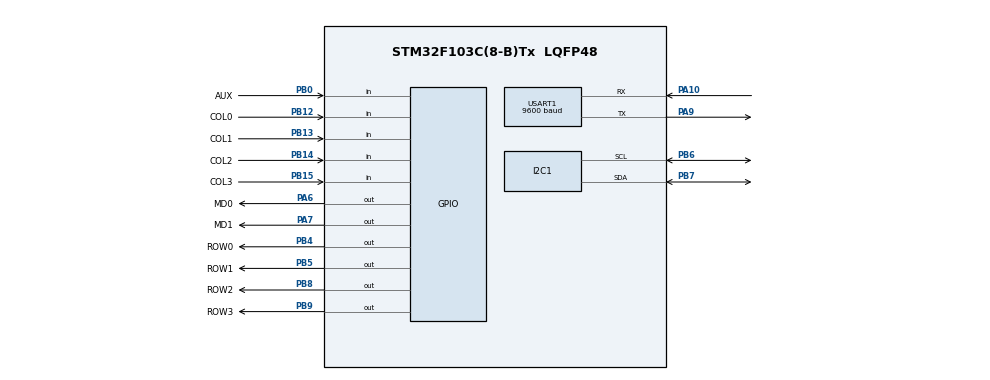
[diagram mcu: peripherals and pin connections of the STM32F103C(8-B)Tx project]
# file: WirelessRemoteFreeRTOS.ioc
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FREERTOS.Tasks01=defaultTask,24,128,StartDefaultTask,Default,NULL,Dynamic,NULL,NULL
FREERTOS.configTOTAL_HEAP_SIZE=6 * 1024
Mcu.Family=STM32F1
Mcu.Name=STM32F103C(8-B)Tx
Mcu.Package=LQFP48
NVIC.PriorityGroup=NVIC_PRIORITYGROUP_4
NVIC.TIM4_IRQn=true\:0\:0\:false\:false\:true\:false\:false\:true
NVIC.TimeBase=TIM4_IRQn
NVIC.TimeBaseIP=TIM4
NVIC.USART1_IRQn=true\:5\:0\:false\:false\:true\:true\:true\:true
PA10.Mode=Asynchronous
PA10.Signal=USART1_RX
PA13.Mode=Serial_Wire
PA13.Signal=SYS_JTMS-SWDIO
PA14.Mode=Serial_Wire
PA14.Signal=SYS_JTCK-SWCLK
PA6.GPIO_Label=MD0
PA6.Signal=GPIO_Output
PA7.GPIO_Label=MD1
PA7.Signal=GPIO_Output
PA9.Mode=Asynchronous
PA9.Signal=USART1_TX
PB0.GPIO_Label=AUX
PB0.Signal=GPIO_Input
PB12.GPIO_Label=COL0
PB12.GPIO_PuPd=GPIO_PULLDOWN
PB12.Signal=GPIO_Input
PB13.GPIO_Label=COL1
PB13.GPIO_PuPd=GPIO_PULLDOWN
PB13.Signal=GPIO_Input
PB14.GPIO_Label=COL2
PB14.GPIO_PuPd=GPIO_PULLDOWN
PB14.Signal=GPIO_Input
PB15.GPIO_Label=COL3
PB15.GPIO_PuPd=GPIO_PULLDOWN
PB15.Signal=GPIO_Input
PB4.GPIO_Label=ROW0
PB4.GPIO_Speed=GPIO_SPEED_FREQ_HIGH
PB4.PinState=GPIO_PIN_RESET
PB4.Signal=GPIO_Output
PB5.GPIO_Label=ROW1
PB5.GPIO_Speed=GPIO_SPEED_FREQ_HIGH
PB5.PinState=GPIO_PIN_RESET
PB5.Signal=GPIO_Output
PB6.Mode=I2C
PB6.Signal=I2C1_SCL
PB7.Mode=I2C
PB7.Signal=I2C1_SDA
PB8.GPIO_Label=ROW2
PB8.GPIO_Speed=GPIO_SPEED_FREQ_HIGH
PB8.Signal=GPIO_Output
PB9.GPIO_Label=ROW3
PB9.GPIO_Speed=GPIO_SPEED_FREQ_HIGH
PB9.Signal=GPIO_Output
PC14-OSC32_IN.Mode=LSE-External-Oscillator
PC14-OSC32_IN.Signal=RCC_OSC32_IN
PC15-OSC32_OUT.Mode=LSE-External-Oscillator
PC15-OSC32_OUT.Signal=RCC_OSC32_OUT
PD0-OSC_IN.Mode=HSE-External-Oscillator
PD0-OSC_IN.Signal=RCC_OSC_IN
PD1-OSC_OUT.Mode=HSE-External-Oscillator
PD1-OSC_OUT.Signal=RCC_OSC_OUT
ProjectManager.HeapSize=0x400
ProjectManager.StackSize=0x400
ProjectManager.TargetToolchain=MDK-ARM V5.27
RCC.APB1Freq_Value=8000000
RCC.APB2Freq_Value=8000000
USART1.BaudRate=9600
USART1.VirtualMode=VM_ASYNC
VP_FREERTOS_VS_CMSIS_V2.Mode=CMSIS_V2
VP_SYS_VS_tim4.Mode=TIM4
board=custom

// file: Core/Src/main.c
/* USER CODE BEGIN Header */
/**
  ******************************************************************************
  * @file           : main.c
  * @brief          : Main program body
  ******************************************************************************
  * @attention
  *
  * <h2><center>&copy; Copyright (c) 2021 STMicroelectronics.
  * All rights reserved.</center></h2>
  *
  * This software component is licensed by ST under Ultimate Liberty license
  * SLA0044, the "License"; You may not use this file except in compliance with
  * the License. You may obtain a copy of the License at:
  *                             www.st.com/SLA0044
  *
  ******************************************************************************
  */
/* USER CODE END Header */
#include "main.h"
#include "cmsis_os.h"
#include "i2c.h"
#include "usart.h"
#include "gpio.h"

/* USER CODE BEGIN Includes */
#include "queue.h"
#include "semphr.h"
#include "event_groups.h"
#include "AS69.h"
#include "ssd1306.h"
#include "matrix_key.h"
#include "state_machine.h"
#include "GUI.h"
/* USER CODE END Includes */

/* USER CODE BEGIN PTD */
typedef struct Message
{
  uint16_t addr;
  uint8_t count;
  uint32_t data;
} Message_TypeDef;
/* USER CODE END PTD */

void SystemClock_Config(void);
void MX_FREERTOS_Init(void);

/* USER CODE BEGIN 0 */

/* FreeRTOS ------------------------------------------------------------------*/

//osSemaphoreDef(updateScreenSem);
//osThreadId as69TaskHandle;
//osThreadId displayTaskHandle;
//osThreadId keyTaskHandle;

EventGroupHandle_t xUpdateScreenEventGroup;
EventGroupHandle_t xReadyEventGroup;
QueueHandle_t xRecvMessageQueue;
QueueHandle_t xSendMessageQueue;
QueueHandle_t xKeyEventQueue;
TaskHandle_t xAS69TaskHandle;
TaskHandle_t xAS69SendTaskHandle;
TaskHandle_t xDisplayTaskHandle;
TaskHandle_t xMatrixTaskHandle;
//TaskHandle_t xMessageRouterTaskHandle;
TaskHandle_t xGUITaskHandle;

void UART_RxCpltCallback()
{
  BaseType_t xYieldRequired;
  xYieldRequired = xTaskResumeFromISR(xAS69TaskHandle);
  portYIELD_FROM_ISR(xYieldRequired);
}
void vAS69Task(void* arg)
{
  UART_HandleTypeDef* huart = (UART_HandleTypeDef*)arg;
  taskENTER_CRITICAL();
  AS69_Init(huart);
  taskEXIT_CRITICAL();

  uint8_t buffer;
  CommStateMachine_TypeDef state = Comm_HEAD;
  const uint8_t head[] = { 0xde, 0xad };
  const uint8_t addr_bytes = 2;
  const uint8_t len_bytes = 1;
  uint16_t addr = 0x0000;
  uint8_t len = 0;
  uint8_t count = 0;
  uint8_t byte_count = 0;
  uint32_t msg_buffer = 0;
  huart->RxCpltCallback = UART_RxCpltCallback;
  xEventGroupSetBits(xReadyEventGroup, BIT_AS69_READY);
  for (;;)
  {
    HAL_UART_Receive_IT(huart, &buffer, 1);
    vTaskSuspend(xAS69TaskHandle);
    switch (state)
    {
    case Comm_HEAD: {
      if (buffer == head[len])
      {
        count++;
        if (count == sizeof(head))
        {
          addr = 0;
          count = 0;
          msg_buffer = 0;
          state = Comm_ADDR;
        }
      }
      break;
    }
    case Comm_ADDR: {
      addr = addr + (buffer << (count << 3));
      count++;
      if (count == addr_bytes)
      {
        len = 0;
        count = 0;
        msg_buffer = 0;
        state = Comm_LEN;
      }
      break;
    }
    case Comm_LEN: {
      len = len + (buffer << (count << 3));
      count++;
      if (count == len_bytes)
      {
        msg_buffer = 0;
        count = 0;
        byte_count = 0;
        msg_buffer = 0;
        state = Comm_LEN;
      }
      break;
    }
    case Comm_MSG: {
      msg_buffer = msg_buffer + (buffer << (byte_count << 3));
      byte_count++;
      if (byte_count == 4)
      {
        Message_TypeDef msg = {
          .addr = addr,
          .count = count,
          .data = msg_buffer
        };
        if (xQueueSend(xRecvMessageQueue,
                        (void *) &msg,
                        (TickType_t) 20 == pdTRUE))
        {
          xEventGroupSetBits(xReadyEventGroup, BIT_RECV_READY);
        }
        msg_buffer = 0;
        byte_count = 0;
        count++;
      }
      if (count == len)
      {
        count = 0;
        state = Comm_HEAD;
      }
      break;
    }
    default:
      break;
    }

  }
}

void vAS69SendTask(void* arg)
{
  xEventGroupWaitBits(xReadyEventGroup, BIT_AS69_READY, pdFALSE, pdTRUE, portMAX_DELAY);
  for (;;)
  {
    Message_TypeDef msg;
    if (xQueueReceive(xSendMessageQueue, &msg, portMAX_DELAY) == pdTRUE)
    {
      // TODO
    }
  }
}

void vDisplayTask(void* arg)
{
  I2C_HandleTypeDef* hi2c = (I2C_HandleTypeDef*)arg;
  ssd1306_Init(hi2c);
  portENTER_CRITICAL();
  ssd1306_UpdateScreen(hi2c);
  portEXIT_CRITICAL();
  xEventGroupSetBits(xReadyEventGroup, BIT_SSD1306_READY);
  for (;;)
  {
    xEventGroupWaitBits(xUpdateScreenEventGroup, 0xff, pdTRUE, pdFALSE, portMAX_DELAY);
    ssd1306_UpdateScreen(hi2c);
  }
}

matrix_key_Typedef matrix_key;
FSMKey_Typedef keys[4][4];
void vMatrixTask(void* arg)
{
  xEventGroupWaitBits(xReadyEventGroup, BIT_SSD1306_READY, pdFALSE, pdTRUE, portMAX_DELAY);
  GPIO_struct_Typedef row[4];
  GPIO_struct_Typedef col[4];
  row[0].GPIOx = ROW0_GPIO_Port; row[0].GPIO_Pin = ROW0_Pin;
  row[1].GPIOx = ROW1_GPIO_Port; row[1].GPIO_Pin = ROW1_Pin;
  row[2].GPIOx = ROW2_GPIO_Port; row[2].GPIO_Pin = ROW2_Pin;
  row[3].GPIOx = ROW3_GPIO_Port; row[3].GPIO_Pin = ROW3_Pin;
  col[0].GPIOx = COL0_GPIO_Port; col[0].GPIO_Pin = COL0_Pin;
  col[1].GPIOx = COL1_GPIO_Port; col[1].GPIO_Pin = COL1_Pin;
  col[2].GPIOx = COL2_GPIO_Port; col[2].GPIO_Pin = COL2_Pin;
  col[3].GPIOx = COL3_GPIO_Port; col[3].GPIO_Pin = COL3_Pin;
  matrixInit(&matrix_key, keys, row, col);

  TickType_t xLastWakeTime;
  const TickType_t xFrequency = 4;
  xLastWakeTime = xTaskGetTickCount();
  for (;;)
  {
    scanMatrix(&matrix_key);
    vTaskDelayUntil(&xLastWakeTime, xFrequency);
  }
}

// TODO: Feature in the future
//void vMessageRouterTask(void* arg)
//{
//  Message_TypeDef msg;
//  for (;;)
//  {
//    if (xQueueReceive(xRecvMessageQueue, &(msg), portMAX_DELAY) == pdPASS)
//    {
//      // TODO
//    }
//  }
//}

#define GUI_VALUE_COUNT 10
GUI_Value_TypeDef values[10];

void vGUITask(void* arg)
{
  xEventGroupWaitBits(xReadyEventGroup, BIT_SSD1306_READY, pdFALSE, pdTRUE, portMAX_DELAY);

  values[0].value = 0;
  values[1].value = (uint32_t)0.0f;
  values[2].value = (uint32_t)0.0f;
  values[3].value = (uint32_t)0.0f;
	values[4].value = 0;
	values[5].value = 0;

  GUI_TypeDef gmRoot, gmUltities, gmPidTuner,gvgTemp, gvsTestVal ,gvsPidP, gvsPidI, gvsPidD, gvsError, gmRegs, gmErrs, gmAbout, gmExample;
  GUI_Init(&gmRoot, "Root", NULL, GUI_MENU, NULL);
  {
    GUI_Init(&gmUltities, "Ultity", NULL, GUI_MENU, NULL);
    {
      GUI_Init(&gvgTemp, "Temp", (void*)"Deg", GUI_VALUEGET, (void*)(values + 0));
      GUI_Init(&gvsTestVal, "TestVal", (void*)"Unit", GUI_VALUESET, (void*)(values + 5));
      GUI_SetProperties(&gvgTemp, guiINT | guiSCREEN_SYNC | guiENABLED);
      GUI_SetProperties(&gvsTestVal, guiINT | guiINC_CTRL | guiSCREEN_SYNC | guiENABLED);
      GUI_AddChild(&gmUltities, &gvgTemp);
      GUI_AddChild(&gmUltities, &gvsTestVal);
    }
    GUI_Init(&gmPidTuner, "PIDTune", NULL, GUI_MENU, NULL);
    {
      GUI_Init(&gvsPidP, "P", (void*)"x", GUI_VALUESET, (void*)(values + 1));
      GUI_Init(&gvsPidI, "I", (void*)"x", GUI_VALUESET, (void*)(values + 2));
      GUI_Init(&gvsPidD, "D", (void*)"x", GUI_VALUESET, (void*)(values + 3));
			GUI_Init(&gvsError, "Error", (void*)"x", GUI_VALUESET, (void*)(values + 4));
      GUI_SetProperties(&gvsPidP, guiFLOAT | guiENABLED);
      GUI_SetProperties(&gvsPidI, guiFLOAT | guiENABLED);
      GUI_SetProperties(&gvsPidD, guiFLOAT | guiENABLED);
			GUI_SetProperties(&gvsError, guiBOOL | guiINC_CTRL |guiENABLED);
      GUI_AddChild(&gmPidTuner, &gvsPidP);
      GUI_AddChild(&gmPidTuner, &gvsPidI);
      GUI_AddChild(&gmPidTuner, &gvsPidD);
			GUI_AddChild(&gmPidTuner, &gvsError);
    }
    GUI_Init(&gmRegs, "Regs", NULL, GUI_MENU, NULL);
    GUI_Init(&gmErrs, "Errors", NULL, GUI_MENU, NULL);
    GUI_Init(&gmAbout, "Aboutme", NULL, GUI_MENU, NULL);
    GUI_Init(&gmExample, "Example", NULL, GUI_MENU, NULL);
    GUI_SetProperties(&gmUltities, guiENABLED);
    GUI_SetProperties(&gmPidTuner, guiENABLED);
    GUI_SetProperties(&gmRegs, guiENABLED);
    GUI_SetProperties(&gmErrs, guiENABLED);
    GUI_SetProperties(&gmAbout, guiENABLED);
    GUI_SetProperties(&gmExample, guiENABLED);
    GUI_AddChild(&gmRoot, &gmUltities);
    GUI_AddChild(&gmRoot, &gmPidTuner);
    GUI_AddChild(&gmRoot, &gmRegs);
    GUI_AddChild(&gmRoot, &gmErrs);
    GUI_AddChild(&gmRoot, &gmAbout);
    GUI_AddChild(&gmRoot, &gmExample);
  }
  GUI_SetProperties(&gmRoot, guiENABLED);

  /* Render root menu */
  GUI_TypeDef* current_menu = &gmRoot;
  GUI_Render(current_menu);
  xEventGroupSetBits(xReadyEventGroup, BIT_SSD1306_READY);
  xEventGroupSetBits(xUpdateScreenEventGroup, BIT_OLED_UPDATE);

  KeyEvent_TypeDef event;
  Message_TypeDef msg;
  for (;;)
  {
    /* Wait for the gui render bits set and check if the queue is empty */
    uint32_t bits = xEventGroupWaitBits(xReadyEventGroup, BIT_KEY_READY | BIT_RECV_READY, pdFALSE, pdFALSE, portMAX_DELAY);
    if ((bits & BIT_RECV_READY) && xQueueReceive(xRecvMessageQueue, &(msg), portMAX_DELAY) == pdTRUE)
    {
      if (!uxQueueMessagesWaiting(xRecvMessageQueue))
      {
        xEventGroupClearBits(xReadyEventGroup, BIT_RECV_READY);
      }
      if (msg.addr < GUI_VALUE_COUNT)
      {
        GUI_Value_TypeDef* pValue = values + msg.addr;
        pValue->value = msg.data;
        if (current_menu == pValue->associated_gui || current_menu == pValue->associated_gui->parent)
        {
          GUI_Render(current_menu);
          xEventGroupSetBits(xUpdateScreenEventGroup, BIT_OLED_UPDATE);
        }
      }
    }
    if ((bits & BIT_KEY_READY) && xQueueReceive(xKeyEventQueue, &event, portMAX_DELAY) == pdTRUE)
    {
      if (!uxQueueMessagesWaiting(xKeyEventQueue))
      {
        xEventGroupClearBits(xReadyEventGroup, BIT_KEY_READY);
      }
      current_menu = GUI_KeyProcess(current_menu, &event);
      GUI_Render(current_menu);
      xEventGroupSetBits(xUpdateScreenEventGroup, BIT_OLED_UPDATE);
    }
  }
}

/* USER CODE END 0 */

int main(void)
{

  /* MCU Configuration--------------------------------------------------------*/

  /* Reset of all peripherals, Initializes the Flash interface and the Systick. */
  HAL_Init();

  /* Configure the system clock */
  SystemClock_Config();

  /* Initialize all configured peripherals */
  MX_GPIO_Init();
  MX_I2C1_Init();
  MX_USART1_UART_Init();
  /* USER CODE BEGIN 2 */

//  as69TaskHandle = osThreadCreate(osThread(vAS69Task), (void const*)(&huart1));
  xUpdateScreenEventGroup = xEventGroupCreate();
  xReadyEventGroup = xEventGroupCreate();
  xRecvMessageQueue = xQueueCreate(10, sizeof(Message_TypeDef));
  xSendMessageQueue = xQueueCreate(10, sizeof(Message_TypeDef));
  xKeyEventQueue = xQueueCreate(30, sizeof(KeyEvent_TypeDef));
  xTaskCreate(vAS69Task, "Wireless serial task", configMINIMAL_STACK_SIZE, (void*)(&huart1), 3, &xAS69TaskHandle);
  xTaskCreate(vAS69SendTask, "Send task", configMINIMAL_STACK_SIZE, (void*)(&huart1), 2, &xAS69SendTaskHandle);
  xTaskCreate(vDisplayTask, "OLED task", configMINIMAL_STACK_SIZE * 2, (void*)(&hi2c1), 2, &xDisplayTaskHandle);
  xTaskCreate(vMatrixTask, "Matrix keys task", configMINIMAL_STACK_SIZE, NULL, 4, &xMatrixTaskHandle);
//  xTaskCreate(vMessageRouterTask, "Message queue process", configMINIMAL_STACK_SIZE, NULL, 1, &xMessageRouterTaskHandle);
  xTaskCreate(vGUITask, "GUI", configMINIMAL_STACK_SIZE * 3, NULL, 1, &xGUITaskHandle);

  /* USER CODE END 2 */

  /* Init scheduler */
  osKernelInitialize();  /* Call init function for freertos objects (in freertos.c) */
  MX_FREERTOS_Init();
  /* Start scheduler */
  osKernelStart();

  /* We should never get here as control is now taken by the scheduler */
  /* Infinite loop */
  while (1)
  {

  }
}

void SystemClock_Config(void)
{
  RCC_OscInitTypeDef RCC_OscInitStruct = {0};
  RCC_ClkInitTypeDef RCC_ClkInitStruct = {0};

  /** Initializes the RCC Oscillators according to the specified parameters
  * in the RCC_OscInitTypeDef structure.
  */
  RCC_OscInitStruct.OscillatorType = RCC_OSCILLATORTYPE_HSI;
  RCC_OscInitStruct.HSIState = RCC_HSI_ON;
  RCC_OscInitStruct.HSICalibrationValue = RCC_HSICALIBRATION_DEFAULT;
  RCC_OscInitStruct.PLL.PLLState = RCC_PLL_NONE;
  if (HAL_RCC_OscConfig(&RCC_OscInitStruct) != HAL_OK)
  {
    Error_Handler();
  }
  /** Initializes the CPU, AHB and APB buses clocks
  */
  RCC_ClkInitStruct.ClockType = RCC_CLOCKTYPE_HCLK|RCC_CLOCKTYPE_SYSCLK
                              |RCC_CLOCKTYPE_PCLK1|RCC_CLOCKTYPE_PCLK2;
  RCC_ClkInitStruct.SYSCLKSource = RCC_SYSCLKSOURCE_HSI;
  RCC_ClkInitStruct.AHBCLKDivider = RCC_SYSCLK_DIV1;
  RCC_ClkInitStruct.APB1CLKDivider = RCC_HCLK_DIV1;
  RCC_ClkInitStruct.APB2CLKDivider = RCC_HCLK_DIV1;

  if (HAL_RCC_ClockConfig(&RCC_ClkInitStruct, FLASH_LATENCY_0) != HAL_OK)
  {
    Error_Handler();
  }
}

 /**
  * @brief  Period elapsed callback in non blocking mode
  * @note   This function is called  when TIM4 interrupt took place, inside
  * HAL_TIM_IRQHandler(). It makes a direct call to HAL_IncTick() to increment
  * a global variable "uwTick" used as application time base.
  * @param  htim : TIM handle
  * @retval None
  */
void HAL_TIM_PeriodElapsedCallback(TIM_HandleTypeDef *htim)
{
  if (htim->Instance == TIM4) {
    HAL_IncTick();
  }
}

void Error_Handler(void)
{
  __disable_irq();
  while (1)
  {
  }
}

/************************ (C) COPYRIGHT STMicroelectronics *****END OF FILE****/
